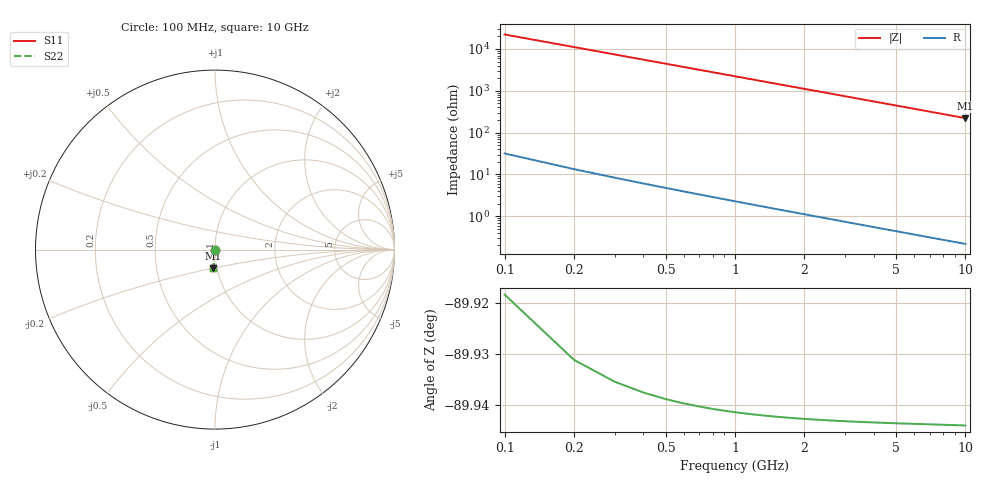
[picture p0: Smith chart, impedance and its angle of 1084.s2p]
# Hz S RI R 50.00
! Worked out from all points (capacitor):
!   100 points, 100 MHz to 10 GHz, reference 50 ohm
!   read as one part in shunt: C = 71.3 fF near 100 MHz
!   lowest |Z| = 223 ohm at 10 GHz (marker M1)
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1e8  6.2e-05 -0.00106  0.9999 -0.00118  0.9999 -0.00118  6.2e-05 -0.00106
2e8  5.75e-05 -0.00212  0.9999 -0.00237  0.9999 -0.00237  5.75e-05 -0.00212
3e8  5.05e-05 -0.00318  0.9999 -0.00355  0.9999 -0.00355  5.05e-05 -0.00318
4e8  4.09e-05 -0.00424  0.9999 -0.00473  0.9999 -0.00473  4.09e-05 -0.00424
5e8  2.88e-05 -0.00529  0.9999 -0.00591  0.9999 -0.00591  2.88e-05 -0.00529
6e8  1.41e-05 -0.00635  0.9999 -0.0071  0.9999 -0.0071  1.41e-05 -0.00635
7e8  -3.06e-06 -0.00741  0.9999 -0.00828  0.9999 -0.00828  -3.06e-06 -0.00741
8e8  -2.28e-05 -0.00847  0.9998 -0.00946  0.9998 -0.00946  -2.28e-05 -0.00847
9e8  -4.5e-05 -0.00953  0.9998 -0.0106  0.9998 -0.0106  -4.5e-05 -0.00953
1.1e9  -9.7e-05 -0.0116  0.9998 -0.013  0.9998 -0.013  -9.7e-05 -0.0116
1.4e9  -0.000194 -0.0148  0.9997 -0.0166  0.9997 -0.0166  -0.000194 -0.0148
1.8e9  -0.000358 -0.0191  0.9995 -0.0213  0.9995 -0.0213  -0.000358 -0.0191
2.1e9  -0.000507 -0.0222  0.9994 -0.0248  0.9994 -0.0248  -0.000507 -0.0222
2.5e9  -0.000742 -0.0265  0.9991 -0.0296  0.9991 -0.0296  -0.000742 -0.0265
2.9e9  -0.00102 -0.0307  0.9988 -0.0343  0.9988 -0.0343  -0.00102 -0.0307
3.4e9  -0.00141 -0.036  0.9984 -0.0402  0.9984 -0.0402  -0.00141 -0.036
4.2e9  -0.00218 -0.0444  0.9977 -0.0496  0.9977 -0.0496  -0.00218 -0.0444
5.1e9  -0.00324 -0.0539  0.9966 -0.0602  0.9966 -0.0602  -0.00324 -0.0539
5.9e9  -0.00434 -0.0622  0.9955 -0.0696  0.9955 -0.0696  -0.00434 -0.0622
6.7e9  -0.0056 -0.0706  0.9942 -0.0789  0.9942 -0.0789  -0.0056 -0.0706
8.4e9  -0.00881 -0.0883  0.991 -0.0987  0.991 -0.0987  -0.00881 -0.0883
1e10  -0.0125 -0.1047  0.9873 -0.1171  0.9873 -0.1171  -0.0125 -0.1047
